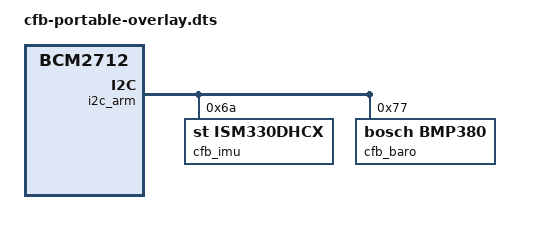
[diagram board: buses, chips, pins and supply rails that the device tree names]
// Copyright (c) 2026 Outthinkx by Luca De Simoni. All rights reserved.
// Proprietary software, not open source. See LICENSE.
//
// Portable CFB on a Raspberry Pi 5 / CM5: sensors on the header I2C bus.
//
//   ISM330DHCX accelerometer/gyro (driver st_lsm6dsx, compatible "st,ism330dhcx")
//     address 0x6a (Adafruit 4502 default)  |  0x6b (SparkFun Qwiic 6DoF default)
//   BMP390 barometer (driver bmp280, BMP380 family, chip ID 0x60)
//     compatible "bosch,bmp380": the kernel has no "bosch,bmp390" string; the
//     driver identifies the BMP390 by its chip ID. Address 0x77 (Adafruit
//     4816 default, SDO high) | 0x76 (SDO low).
//
// Build:   dtc -@ -I dts -O dtb -o cfb-portable.dtbo os/dt/cfb-portable-overlay.dts
// Install: cp cfb-portable.dtbo /boot/firmware/overlays/
// Use:     dtparam=i2c_arm=on
//          dtoverlay=cfb-portable                      (0x6a / 0x77)
//          dtoverlay=cfb-portable,imu_addr=0x6b        (SparkFun IMU board)
// Check:   cat /sys/bus/iio/devices/*/name ; scripts/verify-hardware.sh
/dts-v1/;
/plugin/;

/ {
	compatible = "brcm,bcm2712";

	fragment@0 {
		target = <&i2c_arm>;
		__overlay__ {
			#address-cells = <1>;
			#size-cells = <0>;
			status = "okay";

			cfb_imu: ism330dhcx@6a {
				compatible = "st,ism330dhcx";
				reg = <0x6a>;
			};

			cfb_baro: bmp390@77 {
				compatible = "bosch,bmp380";
				reg = <0x77>;
			};
		};
	};

	__overrides__ {
		imu_addr = <&cfb_imu>,"reg:0";
		baro_addr = <&cfb_baro>,"reg:0";
	};
};
